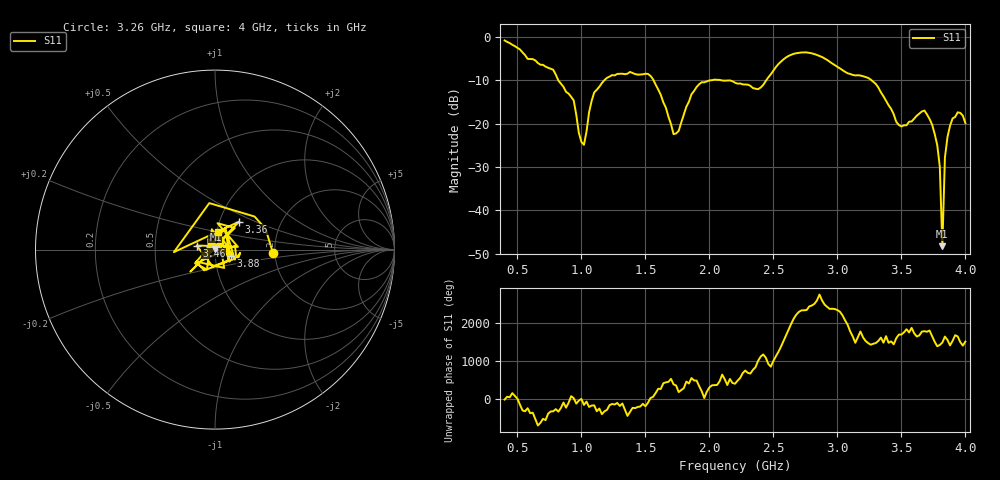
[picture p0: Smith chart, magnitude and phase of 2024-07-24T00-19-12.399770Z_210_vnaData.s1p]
!Created with skrf (http://scikit-rf.org).
# Hz S RI R 50.0
!freq ReS11 ImS11
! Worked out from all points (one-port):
!   181 points, 400 MHz to 4 GHz, reference 50 ohm
!   lowest |S11| = -48.3 dB at 3.82 GHz (marker M1), VSWR 1.01, Z = 50.2 + j0.315 ohm
!   |S11| at or under -10 dB: 819.5 MHz to 1.178 GHz (358.9 MHz wide, 35.9 % of centre); 1.564 GHz to 2.005 GHz (441 MHz wide, 24.7 % of centre); 3.267 GHz to end of sweep (the widest 3 of 4)
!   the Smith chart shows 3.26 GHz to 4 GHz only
!   S11 on the Smith chart (normalised r, x): 3.26 GHz: 1.95, -0.08; 3.36 GHz: 1.24, +0.41; 3.46 GHz: 0.81, +0.04; 3.88 GHz: 1.19, -0.08; 4 GHz: 1.02, +0.20
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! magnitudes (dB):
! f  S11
! 400 MHz  -0.8
! 780 MHz  -7.6
! 860 MHz  -11.5
! 940 MHz  -14.6
! 980 MHz  -22.1
! 1.02 GHz  -24.9
! 1.1 GHz  -12.8
! 1.3 GHz  -8.5
! 1.54 GHz  -9.0
! 1.72 GHz  -22.4
! 1.76 GHz  -21.7
! 1.92 GHz  -10.9
! 2.2 GHz  -10.5
! 2.38 GHz  -12.0
! 2.66 GHz  -3.9
! 3.1 GHz  -8.5
! 3.26 GHz  -9.8
! 3.36 GHz  -13.7
! 3.46 GHz  -19.6
! 3.56 GHz  -19.5
! 3.68 GHz  -17.0
! 3.76 GHz  -22.4
! 3.8 GHz  -29.9
! 3.82 GHz  -48.3
! 3.84 GHz  -27.8
! 3.88 GHz  -20.5
! 3.94 GHz  -17.4
! 4 GHz  -19.9
